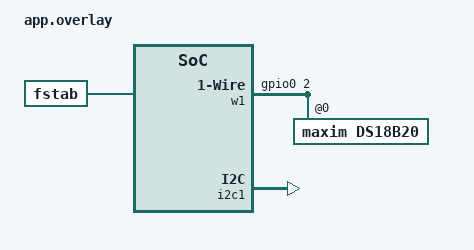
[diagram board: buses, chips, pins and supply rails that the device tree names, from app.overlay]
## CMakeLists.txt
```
# Copyright (c) 2025 Golioth, Inc.
#
# SPDX-License-Identifier: Apache-2.0

cmake_minimum_required(VERSION 3.20.0)

# Include app.overlay so w1/DS18B20 and I2C nodes are merged (board overlay is applied first)
set(EXTRA_DTC_OVERLAY_FILE ${CMAKE_CURRENT_SOURCE_DIR}/app.overlay)

find_package(Zephyr REQUIRED HINTS $ENV{ZEPHYR_BASE})
project(ble_gatt_example)

target_sources(app PRIVATE
  src/main.c
  src/credentials.c
  src/fatal_error.c
  src/fw_update.c
  src/sensors/sensors.c
  src/sensors/ph2_sensor.c
  src/sensors/temp_sensor.c
)
```

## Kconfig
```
# Copyright (c) 2025 Golioth, Inc.
#
# SPDX-License-Identifier: Apache-2.0

config NCS_APPLICATION_BOOT_BANNER_STRING
    string
    default "Pouch BLE GATT Example"

source "$ZEPHYR_BASE/Kconfig"

config EXAMPLE_SYNC_PERIOD_S
    int "Sync Period"
    default 20
    help
      The time, in seconds, after a sync to wait before requesting a sync from
      a gateway.

config EXAMPLE_CREDENTIALS_DIR
    string "Directory containing credentials"
    default "/lfs1/credentials"
    help
      Directory on mounted file system containing credentials.
```

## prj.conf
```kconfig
# Copyright (c) 2025 Golioth, Inc.
#
# SPDX-License-Identifier: Apache-2.0

CONFIG_BT=y
CONFIG_BT_SMP=y
CONFIG_BT_PERIPHERAL=y
CONFIG_BT_DEVICE_NAME="Golioth"
CONFIG_BT_DEVICE_APPEARANCE=768

CONFIG_BT_BUF_ACL_TX_SIZE=251
CONFIG_BT_BUF_ACL_RX_SIZE=251
CONFIG_BT_L2CAP_TX_MTU=247

# This is needed due to an off-by-one error in Kconfig defaults
CONFIG_BT_CTLR_DATA_LENGTH_MAX=251

CONFIG_BT_RX_STACK_SIZE=4096

CONFIG_MAIN_STACK_SIZE=4096

CONFIG_MBEDTLS_HEAP_SIZE=9192

# This option is implied by BT_SMP and breaks secp384r1 support
CONFIG_MBEDTLS_PSA_P256M_DRIVER_ENABLED=n

# Turn off default options to reduce ROM usage
CONFIG_MBEDTLS_PKCS5_C=n

CONFIG_LOG=y
CONFIG_ZCBOR=y
CONFIG_REBOOT=y
CONFIG_SHELL=y

CONFIG_POUCH=y
CONFIG_POUCH_TRANSPORT_BLE_GATT=y

CONFIG_GOLIOTH=y
CONFIG_GOLIOTH_SETTINGS=y
CONFIG_GOLIOTH_OTA=y

# Enable flash operations
CONFIG_FLASH=y
CONFIG_FLASH_MAP=y

# Enable the LittleFS file system
CONFIG_FILE_SYSTEM=y
CONFIG_FILE_SYSTEM_LITTLEFS=y
CONFIG_FILE_SYSTEM_SHELL=y

# Enable USB Console
CONFIG_USB_DEVICE_STACK=y
CONFIG_USB_DEVICE_PRODUCT="XIAO nRF54L15 Console"
CONFIG_UART_LINE_CTRL=y
CONFIG_SHELL_BACKEND_SERIAL_CHECK_DTR=y
CONFIG_BOOT_BANNER=y
CONFIG_BOOT_DELAY=1000

# RTT Console for debugging
CONFIG_USE_SEGGER_RTT=y
CONFIG_RTT_CONSOLE=y
CONFIG_UART_CONSOLE=n
CONFIG_LOG_BACKEND_RTT=y

# Immediate logging to catch startup issues
CONFIG_LOG_MODE_IMMEDIATE=y

# Use Newlib libc to avoid Picolibc conflicts
CONFIG_PICOLIBC=n
CONFIG_NEWLIB_LIBC=y

CONFIG_MCUMGR=y

# Enable console with mcumgr pass through
CONFIG_CONSOLE=y
CONFIG_UART_CONSOLE=y
CONFIG_UART_CONSOLE_MCUMGR=y

CONFIG_RTT_CONSOLE=n
CONFIG_USE_SEGGER_RTT=n
CONFIG_LOG_BACKEND_RTT=n
CONFIG_SHELL_BACKEND_RTT=n

# Enable the shell mcumgr transport. This allows SMP messages to pass
# through the shell to the mgmt subsystem.
CONFIG_CRC=y
CONFIG_MCUMGR_TRANSPORT_SHELL=y

# Enable mcumgr params to allow smpmgr to query device for its MTU
CONFIG_MCUMGR_GRP_OS=y
CONFIG_MCUMGR_GRP_OS_MCUMGR_PARAMS=y

# Enable file system commands
CONFIG_MCUMGR_GRP_FS=y

CONFIG_MCUMGR_MGMT_NOTIFICATION_HOOKS=y
CONFIG_MCUMGR_GRP_FS_FILE_ACCESS_HOOK=y

CONFIG_STREAM_FLASH=y
CONFIG_IMG_MANAGER=y
CONFIG_IMG_ERASE_PROGRESSIVELY=y

# MCUboot
CONFIG_BOOTLOADER_MCUBOOT=y
CONFIG_MCUBOOT_SIGNATURE_KEY_FILE="C:/Users/Brian/bootloader/mcuboot/root-rsa-2048.pem"
```

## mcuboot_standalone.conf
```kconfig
# MCUboot standalone build configuration for XIAO nRF54L15

# Flash configuration
CONFIG_FLASH_LOAD_OFFSET=0x0

# Boot configuration  
CONFIG_BOOT_MAX_IMG_SECTORS=256

# Disable USB (MCUboot doesn't need it)
CONFIG_USB_DEVICE_STACK=n
CONFIG_UART_CONSOLE=y
```

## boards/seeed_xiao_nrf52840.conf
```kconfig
# Copyright (c) 2025 Golioth, Inc.
#
# SPDX-License-Identifier: Apache-2.0

# Enable QSPI flash driver
CONFIG_NORDIC_QSPI_NOR=y

# Enable flash operations
CONFIG_FLASH=y

# Enable the flash map and partitions
CONFIG_FLASH_MAP=y
CONFIG_FLASH_PAGE_LAYOUT=y

# Configure MCUboot to use the secondary slot on the external flash
# Note: When using sysbuild, these may need to be set for MCUboot itself as well.
CONFIG_BOOT_SECONDARY_IN_FLASH_ID=y
CONFIG_BOOT_FIXED_RESOURCES_DEVICE_ID=y

# LittleFS settings (matching app.overlay)
CONFIG_FILE_SYSTEM=y
CONFIG_FILE_SYSTEM_LITTLEFS=y
```

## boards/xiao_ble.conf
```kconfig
# Copyright (c) 2025 Golioth, Inc.
#
# SPDX-License-Identifier: Apache-2.0

# Enable QSPI flash driver
CONFIG_NORDIC_QSPI_NOR=y

# Enable flash operations
CONFIG_FLASH=y

# Enable the flash map and partitions
CONFIG_FLASH_MAP=y
CONFIG_FLASH_PAGE_LAYOUT=y

# Configure MCUboot to use the secondary slot on the external flash
# Note: When using sysbuild, these may need to be set for MCUboot itself as well.
# CONFIG_BOOT_SECONDARY_IN_FLASH_ID=y
# CONFIG_BOOT_FIXED_RESOURCES_DEVICE_ID=y

# LittleFS settings (matching app.overlay)
CONFIG_FILE_SYSTEM=y
CONFIG_FILE_SYSTEM_LITTLEFS=y
```

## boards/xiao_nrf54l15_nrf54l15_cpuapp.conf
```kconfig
# Copyright (c) 2025 Golioth, Inc.
#
# SPDX-License-Identifier: Apache-2.0

# RRAM flash map (partition table from SoC/board; LittleFS on storage_partition)
CONFIG_FLASH=y
CONFIG_FLASH_MAP=y
CONFIG_FLASH_PAGE_LAYOUT=y

CONFIG_FILE_SYSTEM=y
CONFIG_FILE_SYSTEM_LITTLEFS=y
```

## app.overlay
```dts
/*
 * Copyright (c) 2025 Golioth, Inc.
 */
/ {
	fstab {
		compatible = "zephyr,fstab";
		lfs1: lfs1 {
			compatible = "zephyr,fstab,littlefs";
			mount-point = "/lfs1";
			partition = <&storage_partition>;
			automount;
			read-size = <16>;
			prog-size = <16>;
			cache-size = <64>;
			lookahead-size = <32>;
			block-cycles = <512>;
		};
	};
};

/* Enable I2C1 for pH2 sensor (Mikroe pH2 Click with MCP3221) */
&i2c1 {
	status = "okay";
};

/* DS18B20 single-wire temperature sensor: data line on D0 (P0.02) on XIAO BLE.
 * Use a 4.7kΩ pull-up from data to 3.3V. If no sensor is connected you will see
 * "No 1-Wire slaves connected" and temp reads will fail (err -19).
 */
/ {
	w1: w1 {
		compatible = "zephyr,w1-gpio";
		gpios = <&gpio0 2 (GPIO_ACTIVE_HIGH | GPIO_OPEN_DRAIN | GPIO_PULL_UP)>;
		#address-cells = <1>;
		#size-cells = <0>;
		status = "okay";

		ds18b20: ds18b20@0 {
			compatible = "maxim,ds18b20";
			reg = <0>;
			family-code = <0x28>;
			resolution = <12>;
			status = "okay";
		};
	};

	aliases {
		temp0 = &ds18b20;
	};
};
```

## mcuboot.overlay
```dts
/*
 * Copyright (c) 2025 Golioth, Inc.
 *
 * SPDX-License-Identifier: Apache-2.0
 *
 * MCUboot runs from the SoC default RRAM boot_partition. Console UART comes
 * from the board devicetree (e.g. uart20 on Seeed XIAO nRF54L15).
 */

/ {
	chosen {
		zephyr,code-partition = &boot_partition;
	};
};
```

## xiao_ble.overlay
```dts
/*
 * Water Detector Click 3 overlay for Xiao nRF52840
 * 
 * INT pin from Water Detector Click 3 is connected to D3 (P0.29)
 */

/ {
    water_sensor {
        compatible = "gpio-keys";
        water_detect: water_detect {
            gpios = <&gpio0 29 GPIO_ACTIVE_HIGH>;
            label = "Water Detect INT";
        };
    };

    aliases {
        water-detect = &water_detect;
    };
};
```

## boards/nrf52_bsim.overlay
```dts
/ {
	chosen {
		zephyr,code-partition = &slot0_partition;
	};
};

&flash0 {
	partitions {
		/delete-node/ partition@0;

		slot0_partition: partition@0 {
			label = "slot0";
			reg = <0x0 DT_SIZE_K(240)>;
		};

		slot1_partition: partition@3c000 {
			label = "slot1";
			reg = <0x3c000 DT_SIZE_K(240)>;
		};

		storage_partition: partition@78000 {
			label = "storage";
			reg = <0x78000 DT_SIZE_K(32)>;
		};
	};
};
```

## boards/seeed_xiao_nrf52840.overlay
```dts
/*
 * Copyright (c) 2025 Golioth, Inc.
 *
 * SPDX-License-Identifier: Apache-2.0
 */

/ {
	chosen {
		zephyr,code-partition = &slot0_partition;
	};
};

&flash0 {
	/delete-node/ partitions;

	partitions {
		compatible = "fixed-partitions";
		#address-cells = <1>;
		#size-cells = <1>;

		boot_partition: partition@0 {
			label = "mcuboot";
			reg = <0x00000000 0x0000c000>;
		};
		slot0_partition: partition@c000 {
			label = "image-0";
			reg = <0x0000c000 0x000f4000>; /* Remainder of flash, ends at 0x100000 */
		};
	};
};

&p25q16h {
	status = "okay";
	zephyr,flash-res-name = "external_flash";

	/delete-node/ partitions;

	partitions {
		compatible = "fixed-partitions";
		#address-cells = <1>;
		#size-cells = <1>;

		slot1_partition: partition@0 {
			label = "image-1";
			reg = <0x00000000 0x000ec000>;
		};

		storage_partition: partition@ec000 {
			label = "storage";
			reg = <0x000ec000 0x00114000>;
		};
	};
};
```

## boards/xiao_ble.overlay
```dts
/*
 * Copyright (c) 2025 Golioth, Inc.
 *
 * SPDX-License-Identifier: Apache-2.0
 */

/ {
	chosen {
		zephyr,code-partition = &slot0_partition;
		nordic,pm-ext-flash = &p25q16h;
	};

	fstab {
		compatible = "zephyr,fstab";
		lfs1: lfs1 {
			compatible = "zephyr,fstab,littlefs";
			mount-point = "/lfs1";
			partition = <&storage_partition>;
			automount;
			read-size = <16>;
			prog-size = <16>;
			cache-size = <64>;
			lookahead-size = <32>;
			block-cycles = <512>;
		};
	};

	water_sensor {
		compatible = "gpio-keys";
		water_detect: water_detect {
			gpios = <&gpio0 28 GPIO_ACTIVE_HIGH>;
			label = "Water Detect INT";
		};
	};

	aliases {
		water-detect = &water_detect;
	};
};

&flash0 {
	/delete-node/ partitions;

	partitions {
		compatible = "fixed-partitions";
		#address-cells = <1>;
		#size-cells = <1>;

		boot_partition: partition@0 {
			label = "mcuboot";
			reg = <0x00000000 0x0000c000>;
		};
		slot0_partition: partition@c000 {
			label = "image-0";
			reg = <0x0000c000 0x000f4000>; /* Remainder of flash, ends at 0x100000 */
		};
	};
};

&p25q16h {
	status = "okay";
	/delete-property/ zephyr,flash-res-name;

	/delete-node/ partitions;

	partitions {
		compatible = "fixed-partitions";
		#address-cells = <1>;
		#size-cells = <1>;

		slot1_partition: partition@0 {
			label = "image-1";
			reg = <0x00000000 0x000ec000>;
		};

		storage_partition: partition@ec000 {
			label = "storage";
			reg = <0x000ec000 0x00114000>;
		};
	};
};
```

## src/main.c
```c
/*
 * Copyright (c) 2025 Golioth
 *
 * SPDX-License-Identifier: Apache-2.0
 */

#include <zephyr/logging/log.h>
LOG_MODULE_REGISTER(main);

#include "credentials.h"
#include "sensors/sensor.h"

#include <zephyr/bluetooth/bluetooth.h>
#include <zephyr/bluetooth/conn.h>
#include <zephyr/drivers/gpio.h>

#include <pouch/pouch.h>
#include <pouch/events.h>
#include <pouch/uplink.h>
#include <pouch/downlink.h>
#include <pouch/transport/ble_gatt/peripheral.h>
#include <pouch/transport/ble_gatt/common/types.h>

#include <golioth/golioth.h>
#include <golioth/settings_callbacks.h>

#include <app_version.h>

/* This should be included via library path but explicitly defining here to fix build issue */
#ifndef GOLIOTH_BLE_GATT_UUID_SVC_VAL
#define GOLIOTH_BLE_GATT_UUID_SVC_VAL \
    BT_UUID_128_ENCODE(0x89a316ae, 0x89b7, 0x4ef6, 0xb1d3, 0x5c9a6e27d272)
#endif

static const struct gpio_dt_spec led = GPIO_DT_SPEC_GET_OR(DT_ALIAS(led0), gpios, {});

static struct
{
    uint8_t uuid[16];
    struct golioth_ble_gatt_adv_data data;
} __packed service_data = {
    .uuid = {GOLIOTH_BLE_GATT_UUID_SVC_VAL},
    .data =
        {
            .version = (POUCH_VERSION << GOLIOTH_BLE_GATT_ADV_VERSION_POUCH_SHIFT)
                | (GOLIOTH_BLE_GATT_VERSION << GOLIOTH_BLE_GATT_ADV_VERSION_SELF_SHIFT),
            .flags = 0x0,
        },
};

static struct bt_data ad[] = {
    BT_DATA_BYTES(BT_DATA_FLAGS, (BT_LE_AD_GENERAL | BT_LE_AD_NO_BREDR)),
    BT_DATA(BT_DATA_NAME_COMPLETE, CONFIG_BT_DEVICE_NAME, sizeof(CONFIG_BT_DEVICE_NAME) - 1),
};

static struct bt_data sd[] = {
    BT_DATA(BT_DATA_SVC_DATA128, &service_data, sizeof(service_data)),
};

/**
 * Bluetooth connection established callback.
 * Called when a BLE central (gateway) connects to this peripheral node.
 */
static void connected(struct bt_conn *conn, uint8_t err)
{
    if (err)
    {
        LOG_DBG("Connection failed (err 0x%02x)", err);
    }
    else
    {
        LOG_DBG("Connected");
    }
}

/**
 * Work handler that restarts BLE advertising after disconnect.
 * Delayed by 1 second to allow clean disconnect processing.
 */
void disconnect_work_handler(struct k_work *work)
{
    int err = bt_le_adv_start(BT_LE_ADV_CONN_FAST_2, ad, ARRAY_SIZE(ad), sd, ARRAY_SIZE(sd));
    if (err)
    {
        LOG_ERR("Advertising failed to start (err %d)", err);
    }
}

K_WORK_DELAYABLE_DEFINE(disconnect_work, disconnect_work_handler);

/**
 * Bluetooth disconnection callback.
 * Schedules work to restart advertising so gateway can reconnect.
 */
static void disconnected(struct bt_conn *conn, uint8_t reason)
{
    LOG_DBG("Disconnected (reason 0x%02x)", reason);

    k_work_schedule(&disconnect_work, K_SECONDS(1));
}

BT_CONN_CB_DEFINE(conn_callbacks) = {
    .connected = connected,
    .disconnected = disconnected,
};

/**
 * Work handler that sets the "sync requested" flag in BLE advertising data.
 * Signals to gateway that node has data ready to upload.
 */
void sync_request_work_handler(struct k_work *work)
{
    service_data.data.flags = 0x01;
    bt_le_adv_update_data(ad, ARRAY_SIZE(ad), sd, ARRAY_SIZE(sd));
}

K_WORK_DELAYABLE_DEFINE(sync_request_work, sync_request_work_handler);

/**
 * Handles Pouch session lifecycle events.
 * - SESSION_START: Collects sensor data and closes uplink
 * - SESSION_END: Clears sync flag and schedules next sync request
 */
static void pouch_event_handler(enum pouch_event event, void *ctx)
{
    if (POUCH_EVENT_SESSION_START == event)
    {
        sensors_pouch_session_start();

        // Now close the uplink - data has been written synchronously
        golioth_sync_to_cloud();
    }

    if (POUCH_EVENT_SESSION_END == event)
    {
        sensors_pouch_session_end();

        service_data.data.flags = 0x00;
        bt_le_adv_update_data(ad, ARRAY_SIZE(ad), sd, ARRAY_SIZE(sd));
        k_work_schedule(&sync_request_work, K_SECONDS(CONFIG_EXAMPLE_SYNC_PERIOD_S));
    }
}

POUCH_EVENT_HANDLER(pouch_event_handler, NULL);

/**
 * Golioth settings callback for LED control.
 * Receives LED on/off commands from cloud and controls GPIO.
 */
static int led_setting_cb(bool new_value)
{
    LOG_INF("Received LED setting: %d", (int) new_value);

    if (DT_HAS_ALIAS(led0))
    {
        gpio_pin_set_dt(&led, new_value ? 1 : 0);
    }

    return 0;
}

GOLIOTH_SETTINGS_HANDLER(LED, led_setting_cb);

/**
 * Node application entry point.
 * 1. Blinks LED to confirm boot
 * 2. Initializes BLE GATT peripheral with Pouch service
 * 3. Loads device certificate and private key
 * 4. Initializes Pouch protocol stack
 * 5. Starts BLE advertising to be discovered by gateway
 * 6. Initializes all sensors (water, temperature, etc.)
 * 7. Schedules periodic sync requests to upload data
 */
int main(void)
{
    // Early LED blink to confirm boot
    if (DT_HAS_ALIAS(led0))
    {
        int err = gpio_pin_configure_dt(&led, GPIO_OUTPUT_ACTIVE);
        if (err == 0)
        {
            // Blink 3 times fast to show we're alive
            for (int i = 0; i < 3; i++)
            {
                gpio_pin_set_dt(&led, 1);
                k_msleep(100);
                gpio_pin_set_dt(&led, 0);
                k_msleep(100);
            }
        }
    }

    LOG_INF("Pouch SDK Version: " STRINGIFY(APP_BUILD_VERSION));
    LOG_INF("Pouch Protocol Version: %d", POUCH_VERSION);
    LOG_INF("Pouch BLE Transport Protocol Version: %d", GOLIOTH_BLE_GATT_VERSION);

    int err = golioth_ble_gatt_peripheral_init();
    if (err)
    {
        LOG_ERR("Failed to initialize Pouch BLE GATT peripheral (err %d)", err);
        return 0;
    }

    err = bt_enable(NULL);
    if (err)
    {
        LOG_ERR("Bluetooth init failed (err %d)", err);
        return 0;
    }

    LOG_INF("Bluetooth initialized");

    struct pouch_config config = {0};

    err = load_certificate(&config.certificate);
    if (err)
    {
        LOG_ERR("Failed to load certificate (err %d)", err);
        return 0;
    }

    config.private_key = load_private_key();
    if (config.private_key == PSA_KEY_ID_NULL)
    {
        LOG_ERR("Failed to load private key");
        return 0;
    }

    LOG_INF("Credentials loaded");

    err = pouch_init(&config);
    if (err)
    {
        LOG_ERR("Pouch init failed (err %d)", err);
        return 0;
    }

    LOG_INF("Pouch initialized");

    err = bt_le_adv_start(BT_LE_ADV_CONN_FAST_2, ad, ARRAY_SIZE(ad), NULL, 0);
    if (err)
    {
        LOG_ERR("Advertising failed to start (err %d)", err);
        return 0;
    }

    LOG_INF("Advertising started");

    if (DT_HAS_ALIAS(led0))
    {
        err = gpio_pin_configure_dt(&led, GPIO_OUTPUT_ACTIVE);
        if (err < 0)
        {
            LOG_ERR("Could not initialize LED");
        }
    }

    // Initialize all sensors
    err = sensors_init_all();
    if (err)
    {
        LOG_WRN("Sensors init failed (err %d), continuing without them", err);
    }

    k_work_schedule(&sync_request_work, K_SECONDS(CONFIG_EXAMPLE_SYNC_PERIOD_S));

    while (1)
    {
        k_sleep(K_SECONDS(1));
    }
    return 0;
}
```

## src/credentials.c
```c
/*
 * Copyright (c) 2025 Golioth, Inc.
 *
 * SPDX-License-Identifier: Apache-2.0
 */
#include <stdlib.h>
#include <zephyr/fs/fs.h>
#include <pouch/pouch.h>
#include <mbedtls/pk.h>

#include <zephyr/logging/log.h>
LOG_MODULE_REGISTER(credentials);

#define CERT_DIR CONFIG_EXAMPLE_CREDENTIALS_DIR
#define CERT_FILE CERT_DIR "/crt.der"
#define KEY_FILE CERT_DIR "/key.der"

static int psa_rng_for_mbedtls(void *p_rng, unsigned char *output, size_t output_len)
{
    return psa_generate_random(output, output_len);
}

/** Load the raw private key data into PSA */
static psa_key_id_t import_raw_pk(const uint8_t *private_key, size_t size)
{
    mbedtls_pk_context pk;
    mbedtls_pk_init(&pk);
    int err = mbedtls_pk_parse_key(&pk, private_key, size, NULL, 0, psa_rng_for_mbedtls, NULL);
    if (err)
    {
        LOG_ERR("Failed to parse key: -0x%x", -err);
        return PSA_KEY_ID_NULL;
    }

    psa_key_attributes_t attrs = PSA_KEY_ATTRIBUTES_INIT;

    psa_set_key_algorithm(&attrs, PSA_ALG_ECDH);
    psa_set_key_type(&attrs, PSA_KEY_TYPE_ECC_KEY_PAIR(PSA_ECC_FAMILY_SECP_R1));
    psa_set_key_usage_flags(&attrs, PSA_KEY_USAGE_DERIVE);

    psa_key_id_t key_id;
    err = mbedtls_pk_import_into_psa(&pk, &attrs, &key_id);
    if (err)
    {
        LOG_ERR("Failed to import private key: -0x%x", -err);
        return PSA_KEY_ID_NULL;
    }

    return key_id;
}

static void ensure_credentials_dir(void)
{
    struct fs_dirent dirent;

    int err = fs_stat(CERT_DIR, &dirent);
    if (err == -ENOENT)
    {
        err = fs_mkdir(CERT_DIR);
    }

    if (err)
    {
        LOG_ERR("Failed to create credentials dir: %d", err);
    }
}

static ssize_t get_file_size(const char *path)
{
    struct fs_dirent dirent;

    int err = fs_stat(path, &dirent);

    if (err < 0)
    {
        return err;
    }
    if (dirent.type != FS_DIR_ENTRY_FILE)
    {
        return -EISDIR;
    }

    return dirent.size;
}

static ssize_t read_file(const char *path, uint8_t **out)
{
    // Ensure that the credentials directory exists, so the user doesn't have to
    ensure_credentials_dir();

    ssize_t size = get_file_size(path);
    if (size <= 0)
    {
        return size;
    }

    uint8_t *buf = malloc(size);
    if (buf == NULL)
    {
        return -ENOMEM;
    }

    struct fs_file_t file;
    fs_file_t_init(&file);

    int err = fs_open(&file, path, FS_O_READ);
    if (err)
    {
        LOG_ERR("Could not open %s, err: %d", path, err);
        free(buf);
        return err;
    }

    size = fs_read(&file, buf, size);
    if (size < 0)
    {
        LOG_ERR("Could not read %s, err: %d", path, size);
        free(buf);
        goto finish;
    }

    LOG_DBG("Read %d bytes from %s", size, path);

    *out = buf;

finish:
    fs_close(&file);
    return size;
}

psa_key_id_t load_private_key(void)
{
    uint8_t *buf;
    ssize_t size = read_file(KEY_FILE, &buf);
    if (size < 0)
    {
        return PSA_KEY_ID_NULL;
    }

    psa_key_id_t key_id = import_raw_pk(buf, size);
    free(buf);
    return key_id;
}

int load_certificate(struct pouch_cert *cert)
{
    uint8_t *buf;
    ssize_t size = read_file(CERT_FILE, &buf);
    if (size < 0)
    {
        return size;
    }

    cert->buffer = buf;
    cert->size = size;

    LOG_DBG("Read certificate (%d bytes)", size);

    return 0;
}

void free_certificate(struct pouch_cert *cert)
{
    free((void *) cert->buffer);
}
```
